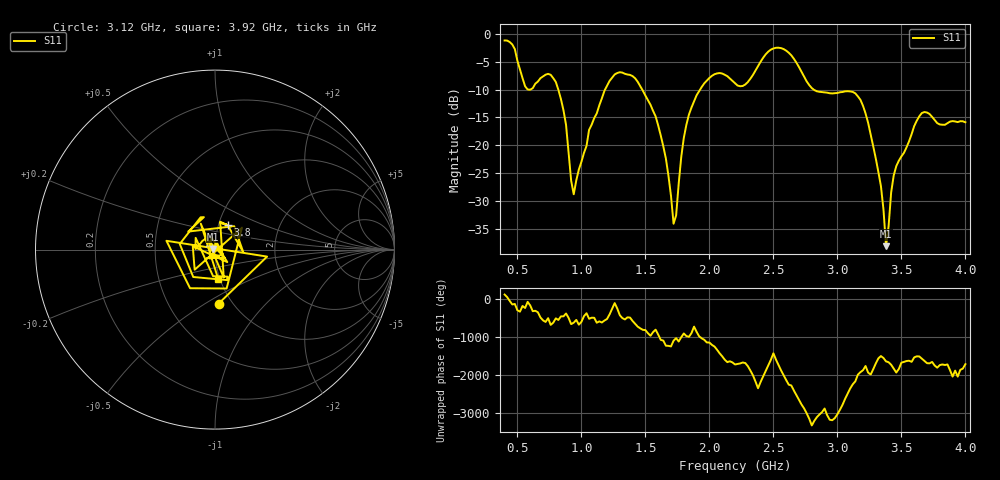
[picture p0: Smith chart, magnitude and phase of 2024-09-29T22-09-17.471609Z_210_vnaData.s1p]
!Created with skrf (http://scikit-rf.org).
# Hz S RI R 50.0
!freq ReS11 ImS11
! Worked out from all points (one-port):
!   181 points, 400 MHz to 4 GHz, reference 50 ohm
!   lowest |S11| = -38.1 dB at 3.38 GHz (marker M1), VSWR 1.03, Z = 48.8 + j0.406 ohm
!   |S11| at or under -10 dB: 819.5 MHz to 1.185 GHz (365.3 MHz wide, 36.4 % of centre); 1.475 GHz to 1.927 GHz (451.9 MHz wide, 26.6 % of centre); 2.815 GHz to end of sweep (the widest 3 of 4)
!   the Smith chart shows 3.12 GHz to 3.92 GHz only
!   S11 on the Smith chart (normalised r, x): 3.12 GHz: 0.87, -0.57; 3.8 GHz: 1.10, +0.31; 3.92 GHz: 0.98, -0.33
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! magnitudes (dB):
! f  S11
! 400 MHz  -1.2
! 580 MHz  -10.0
! 760 MHz  -7.3
! 860 MHz  -13.7
! 940 MHz  -28.8
! 1.06 GHz  -17.2
! 1.3 GHz  -6.9
! 1.58 GHz  -14.8
! 1.66 GHz  -22.4
! 1.72 GHz  -34.1
! 1.76 GHz  -26.9
! 1.82 GHz  -16.3
! 1.9 GHz  -11.0
! 2.2 GHz  -8.8
! 2.5 GHz  -2.6
! 2.66 GHz  -4.5
! 2.82 GHz  -10.1
! 3.1 GHz  -10.3
! 3.12 GHz  -10.4
! 3.26 GHz  -18.0
! 3.34 GHz  -27.3
! 3.38 GHz  -38.1
! 3.44 GHz  -25.4
! 3.56 GHz  -19.3
! 3.66 GHz  -14.2
! 3.8 GHz  -16.3
! 3.92 GHz  -15.7
! 4 GHz  -15.9
